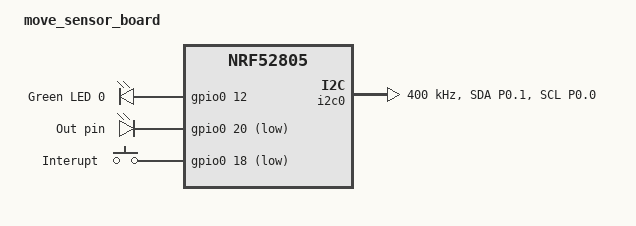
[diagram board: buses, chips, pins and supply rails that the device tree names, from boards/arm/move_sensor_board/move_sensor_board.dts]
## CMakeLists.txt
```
# SPDX-License-Identifier: Apache-2.0

cmake_minimum_required(VERSION 3.20.0)
find_package(Zephyr REQUIRED HINTS $ENV{ZEPHYR_BASE})
project(blinky)

target_sources(app PRIVATE 
                    src/main.c 
                    src/utils.c 
                    src/adc.c
                    src/ir_sensor.c
                    src/settings.c
                    src/sths34pf80_reg.c
                    src/logic.c
                    )
```

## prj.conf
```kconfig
# RTT Logging
CONFIG_LOG=y
CONFIG_LOG_DEFAULT_LEVEL=3
CONFIG_CONSOLE=y
CONFIG_UART_CONSOLE=n
CONFIG_STDOUT_CONSOLE=n

CONFIG_USE_SEGGER_RTT=y
CONFIG_LOG_MODE_IMMEDIATE=y
CONFIG_PRINTK=y

# RC oscilator as a source of lfclk
CONFIG_CLOCK_CONTROL_NRF_K32SRC_RC=y
CONFIG_CLOCK_CONTROL_NRF_K32SRC_XTAL=n

# Hardware
CONFIG_GPIO=y
CONFIG_NRFX_SAADC=y
CONFIG_PINCTRL=y

# IR Sensor
CONFIG_I2C=y
CONFIG_I2C_NRFX=y


# Enable reset pin
CONFIG_GPIO_AS_PINRESET=n

#Bluetooth and nus
CONFIG_BT=y
CONFIG_BT_PERIPHERAL=y
CONFIG_BT_DEVICE_NAME="ImbueLight move controller"
CONFIG_BT_NUS=y

# # Disable Bluetooth features not needed
CONFIG_BT_DEBUG_NONE=y
CONFIG_BT_ASSERT=n
CONFIG_BT_DATA_LEN_UPDATE=n
CONFIG_BT_PHY_UPDATE=n
CONFIG_BT_GATT_CACHING=n
#CONFIG_BT_GATT_SERVICE_CHANGED=n
CONFIG_BT_GAP_PERIPHERAL_PREF_PARAMS=n
#CONFIG_BT_SETTINGS_CCC_LAZY_LOADING=y
CONFIG_BT_HCI_VS_EXT=n

# # Disable Bluetooth controller features not needed
CONFIG_BT_CTLR_PRIVACY=n
CONFIG_BT_CTLR_PHY_2M=n

# # Reduce Bluetooth buffers
# CONFIG_BT_BUF_EVT_DISCARDABLE_COUNT=1
# CONFIG_BT_BUF_EVT_DISCARDABLE_SIZE=43
# CONFIG_BT_BUF_EVT_RX_COUNT=2
# CONFIG_BT_CONN_TX_MAX=2
# CONFIG_BT_L2CAP_TX_BUF_COUNT=2
# CONFIG_BT_CTLR_RX_BUFFERS=1
# CONFIG_BT_BUF_ACL_TX_COUNT=3
# CONFIG_BT_BUF_ACL_TX_SIZE=27

# CONFIG_BT_RX_STACK_SIZE=1024
# CONFIG_BT_HCI_TX_STACK_SIZE_WITH_PROMPT=y
# CONFIG_BT_HCI_TX_STACK_SIZE=640
# CONFIG_SYSTEM_WORKQUEUE_STACK_SIZE=256

#CONFIG_MAIN_STACK_SIZE=640
#CONFIG_IDLE_STACK_SIZE=128
#CONFIG_ISR_STACK_SIZE=1024


#Flash settings
CONFIG_FLASH=y
CONFIG_FLASH_PAGE_LAYOUT=y
CONFIG_NVS=y
#CONFIG_NVS_LOG_LEVEL_DBG=y
CONFIG_REBOOT=y
CONFIG_MPU_ALLOW_FLASH_WRITE=y
```

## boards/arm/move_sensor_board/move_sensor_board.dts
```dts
// Copyright (c) 2023 Nordic Semiconductor ASA
// SPDX-License-Identifier: Apache-2.0

/dts-v1/;
#include <nordic/nrf52805_caaa.dtsi>


/ {
	model = "move_sensor_board";
	compatible = "move-sensor-board";

	chosen {
		zephyr,sram = &sram0;
		zephyr,flash = &flash0;
		zephyr,code-partition = &slot0_partition;
	};

	leds {
		compatible = "gpio-leds";
		led0: led_0 {
			gpios = <&gpio0 12 GPIO_ACTIVE_HIGH>;
			label = "Green LED 0";
		};
		out0: out_0 {
			gpios = <&gpio0 20 GPIO_ACTIVE_LOW>;
			label = "Out pin";
		};
	};

	buttons {
		compatible = "gpio-keys";
		irsensorint: ir_sensor_int {
			gpios = <&gpio0 18 GPIO_ACTIVE_LOW>;
			label = "Interupt ";
		};
	};

	aliases {
		led0 = &led0;
		out0 = &out0;
		i2c0 = &i2c0;
		irsensorint = &irsensorint;
	};
};

&gpio0 {
	status = "okay";
};

&gpiote {
	status = "okay";
};


&pinctrl {
	i2c0_default: i2c0_default {
		group1 {
			psels = <NRF_PSEL(TWIM_SDA, 0, 1)>, <NRF_PSEL(TWIM_SCL, 0, 0)>;
		};
	};

	i2c0_sleep: i2c0_sleep {
		group1 {
			psels = <NRF_PSEL(TWIM_SDA, 0, 1)>, <NRF_PSEL(TWIM_SCL, 0, 0)>;
			low-power-enable;
		};
	};
};

&i2c0 {
	compatible = "nordic,nrf-twi";
	status = "okay";
	pinctrl-0 = <&i2c0_default>;
	pinctrl-1 = <&i2c0_sleep>;
	pinctrl-names = "default", "sleep";
	clock-frequency = <I2C_BITRATE_FAST>;
};



&flash0 {
	partitions {
		compatible = "fixed-partitions";
		#address-cells = <1>;
		#size-cells = <1>;

		boot_partition: partition@0 {
			label = "mcuboot";
			reg = <0x0 0xc000>;
		};
		slot0_partition: partition@c000 {
			label = "image-0";
			reg = <0xc000 0xa000>;
		};
		slot1_partition: partition@16000 {
			label = "image-1";
			reg = <0x16000 0xa000>;
		};
		scratch_partition: partition@20000 {
			label = "image-scratch";
			reg = <0x20000 0xa000>;
		};
		storage_partition: partition@2a000 {
			label = "storage";
			reg = <0x2a000 0x6000>;
		};
	};
};
```

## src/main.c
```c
#include <zephyr/kernel.h>
#include <zephyr/drivers/gpio.h>
#include <zephyr/drivers/i2c.h>
#include <stdio.h>
#include "utils.h"
#include "adc.h"
#include "ir_sensor.h"
#include "settings.h"
#include "logic.h"

#include <zephyr/bluetooth/bluetooth.h>
#include <zephyr/bluetooth/uuid.h>
#include <zephyr/bluetooth/gatt.h>
#include <bluetooth/services/nus.h>

#include <zephyr/logging/log.h>
LOG_MODULE_REGISTER(main, CONFIG_LOG_DEFAULT_LEVEL);


#define DEVICE_NAME             CONFIG_BT_DEVICE_NAME
#define DEVICE_NAME_LEN         (sizeof(DEVICE_NAME) - 1)

static struct bt_data ad[] = 
{
	BT_DATA_BYTES(BT_DATA_FLAGS, (BT_LE_AD_GENERAL | BT_LE_AD_NO_BREDR)),
	BT_DATA(BT_DATA_NAME_COMPLETE, DEVICE_NAME, DEVICE_NAME_LEN),
};

uint8_t nus_buffer[17];

bool connection_state = false;
bool save_setting_flag = false;
bool ble_connected_flag = false;
bool led_state = false;
bool set_new_threshold_flag = false;


int16_t current_light = 0;
int16_t ir_sensor_motion_raw = 0;
int16_t ir_sensor_presence_raw = 0;

// Direct signal from sensro
bool light_state_current = false;
bool present_state_current = false;
bool motion_state_current = false;

// this can be inverted or no 
bool light_state = false;
bool present_state = false;
bool motion_state = false;

// this is final state
bool sensor_state = false;

bool led_signalization_connected_flag = false;
bool led_signalization_disconnect_flag = false;
bool led_signalization_save_flag = false;


#define CMD_SET_CONFIG 	0xEC
#define CMD_GET_CONFIG 	0xBC
#define CMD_SEND_DATA 	0x0D



static void bt_receive_cb(struct bt_conn *conn, const uint8_t *const data, uint16_t len)
{
	char addr[BT_ADDR_LE_STR_LEN] = {0};
	uint8_t cmd = 0x00;
	bt_addr_le_to_str(bt_conn_get_dst(conn), addr, ARRAY_SIZE(addr));
	LOG_INF("Received data from: %s msg: %s len: %d", addr, data, len);

	for (int i = 0 ; i < len ; i ++ )
	{
		LOG_INF("[%2d]=%02X", i, data[i]);
	}	

	cmd = data[0];

	switch(cmd)
	{
		case CMD_SET_CONFIG:
			LOG_INF("CMD_SET_CONFIG");

			settings.light_intensity_enable = data[1] > 0 ? true : false;
			settings.light_intensity_threshold = (uint16_t)(((uint16_t)data[3] << 8 ) | data[2] );
			settings.light_intensity_out_invert = data[4] > 0 ? true : false;

			settings.presence_enable = data[5] > 0 ? true : false;
			settings.presence_threshold = (uint16_t)(((uint16_t)data[7] << 8 ) | data[6] );
			settings.presence_out_invert = data[8] > 0 ? true : false;

			settings.motion_threshold = (uint16_t)(((uint16_t)data[10] << 8 ) | data[9] );
			settings.motion_enable = data[11] > 0 ? true : false;
			settings.motion_out_invert = data[12] > 0 ? true : false;

			settings.signal_out_logic_function = (enum lout_logic_t)data[13];
			settings.signal_out_invert = data[14] > 0 ? true : false;

			settings.led_signalization_src =  (enum led_signalization_src_t)data[15];

			set_new_threshold_flag = true;
			
			led_signalization_save_flag = true;
		break;
		case CMD_GET_CONFIG:
			LOG_INF("CMD_GET_CONFIG");

			nus_buffer[0] = CMD_GET_CONFIG;
			nus_buffer[1] = settings.light_intensity_enable;
			nus_buffer[2] = settings.light_intensity_threshold >> 8;
			nus_buffer[3] = settings.light_intensity_threshold & 0xFF;
			nus_buffer[4] = settings.light_intensity_out_invert;
			nus_buffer[5] = settings.presence_enable;
			nus_buffer[6] = settings.presence_threshold >> 8;
			nus_buffer[7] = settings.presence_threshold & 0xFF;
			nus_buffer[8] = settings.presence_out_invert;
			nus_buffer[9] = settings.motion_threshold >> 8;
			nus_buffer[10] = settings.motion_threshold & 0xFF;
			nus_buffer[11] = settings.motion_enable;
			nus_buffer[12] = settings.motion_out_invert;

			nus_buffer[13] = (uint8_t)settings.signal_out_logic_function;
			nus_buffer[14] = settings.signal_out_invert;
			nus_buffer[15] = (uint8_t)settings.led_signalization_src;
			nus_buffer[16] = FW_VERSION;

			bt_nus_send(NULL, nus_buffer, 17);
		break;
		default:
			LOG_ERR("CMD - Unknown command");
		break;
	}
}


static void connected(struct bt_conn *conn, uint8_t err)
{
	char addr[BT_ADDR_LE_STR_LEN];
	if (err) 
	{
		LOG_ERR("Connection failed (err %u)", err);
		return;
	}
	bt_addr_le_to_str(bt_conn_get_dst(conn), addr, sizeof(addr));
	LOG_INF("Connected %s", addr);
	//current_conn = bt_conn_ref(conn);

	connection_state = true;
	led_signalization_connected_flag = true;
}


static void disconnected(struct bt_conn *conn, uint8_t reason)
{
	char addr[BT_ADDR_LE_STR_LEN];

	bt_addr_le_to_str(bt_conn_get_dst(conn), addr, sizeof(addr));

	LOG_INF("Disconnected: %s (reason %u)", addr, reason);

	connection_state = false;
	led_signalization_disconnect_flag = true;
}


static struct bt_nus_cb nus_cb = {
	.received = bt_receive_cb,
};


BT_CONN_CB_DEFINE(conn_callbacks) = {
	.connected    = connected,
	.disconnected = disconnected,
};



static void bt_ready(int err)
{
	uint8_t addr_s[3];
	bt_addr_le_t addr = {0};
	size_t count = 1;
	char device_name_adv[24];

	bt_id_get(&addr, &count);
	addr_s[0] = addr.a.val[0] ^ addr.a.val[1];
	addr_s[1] = addr.a.val[2] ^ addr.a.val[3];
	addr_s[2] = addr.a.val[4] ^ addr.a.val[5];

	sprintf(device_name_adv, "IL Move %02X%02X%02X", addr_s[0], addr_s[1], addr_s[2]);
	
	LOG_INF("ADV NAME: %s", device_name_adv);

	ad[1].data = (const uint8_t*)device_name_adv;
	ad[1].data_len = strlen((const char*)device_name_adv);

	err = bt_nus_init(&nus_cb);
	if (err) 
	{
		LOG_ERR("Failed to initialize UART service (err: %d)", err);
		return;
	}

	err = bt_le_adv_start(BT_LE_ADV_CONN, ad, ARRAY_SIZE(ad), NULL, 0);
	if (err) 
	{
		LOG_INF("Advertising failed to start (err %d)\n", err);
		return;
	}
}


void BOOT_info(void)
{
    LOG_INF("##############################"); 
    LOG_INF("##       Imbue Light        ##");
	LOG_INF("##     Move Controller      ##");	
	LOG_INF("##        ver 3.0           ##");
    LOG_INF("##   %s %s   ##", __DATE__, __TIME__);
    LOG_INF("##############################\n");
}


#include "sths34pf80_reg.h"
#include "settings.h"
#include "utils.h"
#include "ir_sensor.h"
#include "logic.h"

extern stmdev_ctx_t ir_sensor;
extern volatile sths34pf80_drdy_status_t status;
extern volatile sths34pf80_func_status_t func_status;


int main(void)
{	
	BOOT_info();
	LED_init();
	OUT_init();
	LED_start();
	SETTINGS_init();
	SETTINGS_load();
	//SETTINGS_load_default();
	ADC_init();
	IR_SENSOR_init();

	int err = bt_enable(bt_ready);
	if (err) 
	{
		LOG_INF("Bluetooth init failed (err %d)\n", err);
	}

	while(1)
	{

			ir_sensor_motion_raw = IR_SENSOR_get_montion_raw();
			k_msleep(2);	
			ir_sensor_presence_raw = IR_SENSOR_get_presence_raw();










			/* Odczyt/wyczyszczenie flag statusu w sensorze (side-effect: kasuje IRQ) */
				sths34pf80_func_status_t fs = (sths34pf80_func_status_t){0};
				sths34pf80_drdy_status_t st = (sths34pf80_drdy_status_t){0};

				(void)sths34pf80_func_status_get(&ir_sensor, &fs);
				(void)sths34pf80_drdy_status_get(&ir_sensor, &st);

				/* Zapisz do globalnych (jeśli ktoś czyta gdzie indziej) */
				func_status = fs;
				status = st;

				bool motion_flag   = (fs.mot_flag != 0);
				bool presence_flag = (fs.pres_flag != 0);

				/* (opcjonalnie) diagnostyka pinu:
				int pin_level = gpio_pin_get_dt(&ir_sensor_int);
				LOG_DBG("INT pin=%d, mot=%d pres=%d", pin_level, motion_flag, presence_flag);
				*/

				/* Motion */
				if (settings.motion_enable) {
					bool motion_old = motion_state_current;
					motion_state_current = motion_flag ? 1 : 0;

					if (motion_state_current != motion_old) {
						LOG_INF("Motion state changed - current: %d", motion_state_current);
						LOGIC_signal();
					}
				} else {
					/* zgodnie z poprzednią logiką – motion „wymuszone” */
					motion_state_current = 1;
				}

				/* Presence */
				if (settings.presence_enable) {
					bool present_old = present_state_current;
					present_state_current = presence_flag ? 1 : 0;

					if (present_state_current != present_old) {
						LOG_INF("Presence state changed - current: %d (motion=%d)",
								present_state_current, motion_flag);
						LOGIC_signal();
					}
				} else {
					/* zgodnie z poprzednią logiką – presence „wymuszone” */
					present_state_current = 1;
				}










			// IR_SENSOR_get_all_raw_data(&IR_SENSOR_raw_data);

			// LOG_INF("object: %4d | ambient: %4d | obj_comp: %4d | presence: %4d | motion: %4d | shock: %4d | presence_abs: %4d", 
			// 		IR_SENSOR_raw_data.object_raw, 
			// 		IR_SENSOR_raw_data.object_raw, 
			// 		IR_SENSOR_raw_data.tambient_raw, 
			// 		IR_SENSOR_raw_data.tobj_comp_raw, 
			// 		IR_SENSOR_raw_data.tpresence_raw, 
			// 		IR_SENSOR_raw_data.tmotion_raw, 
			// 		IR_SENSOR_raw_data.tamb_shock_raw, 
			// 		IR_SENSOR_raw_data.presence_abs_value);

			//LOG_INF("LIGHT raw: %4d state: %d MOV raw: %4d state %d", current_light, light_state, ir_sensor_raw, present_state);
		if ( connection_state == true )
		{
			nus_buffer[0] = CMD_SEND_DATA;

			nus_buffer[1] = current_light >> 8;
			nus_buffer[2] = current_light & 0xFF;
			nus_buffer[3] = light_state;
			nus_buffer[4] = ir_sensor_motion_raw >> 8;
			nus_buffer[5] = ir_sensor_motion_raw & 0xFF;
			nus_buffer[6] = ir_sensor_presence_raw >> 8;
			nus_buffer[7] = ir_sensor_presence_raw & 0xFF;
			nus_buffer[8] = present_state;
			nus_buffer[9] = motion_state;
			nus_buffer[10] = sensor_state;


			bt_nus_send(NULL, nus_buffer, 11);
		}

		if ( led_signalization_connected_flag )
		{
 			LED_connected_signalization();
			led_signalization_connected_flag = false;
		}
		if ( led_signalization_disconnect_flag )
		{
 			LED_disconnect_signalization();
			led_signalization_disconnect_flag = false;
		}
		if ( led_signalization_save_flag )
		{
			SETTINGS_save();
 			LED_save_signalization();
			led_signalization_save_flag = false;
		}
		if ( set_new_threshold_flag )
		{
			set_new_threshold_flag = false;
			IR_SENSOR_set_new_motion_threshold(settings.motion_threshold);
			IR_SENSOR_set_new_presence_threshold(settings.presence_threshold);
			LOG_INF("New thresholds set: motion: %d, presence: %d", settings.motion_threshold, settings.presence_threshold);
			//IR_SENSOR_reset();
			// TODO: Led signalization to indicate save settings
			light_state_current = false;
			present_state_current = false;
			light_state = false;
			present_state = false;
			sensor_state = false;
			led_state = false;
			OUT_set(sensor_state); 
			LED_set(led_state);
			LOGIC_signal();
		}


		k_msleep(35);	
	}

	return 0;
}
```

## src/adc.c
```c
#include <zephyr/kernel.h>
#include <nrfx_saadc.h>
#include "settings.h"
#include "utils.h"
#include "adc.h"
#include "logic.h"

#include <zephyr/logging/log.h>
LOG_MODULE_REGISTER(adc, CONFIG_LOG_DEFAULT_LEVEL);


static volatile bool is_ready;
static int16_t samples[2];

static const nrfx_saadc_channel_t channel[2] = {	NRFX_SAADC_DEFAULT_CHANNEL_SE(NRF_SAADC_INPUT_VDD,  0),
									        		NRFX_SAADC_DEFAULT_CHANNEL_SE(NRF_SAADC_INPUT_AIN3, 1) };
static struct k_timer adc_timer;



static void adc_handler(struct k_timer *timer_id)
{
	uint8_t old_light_state = false;
	current_light = ADC_get_light_intensity();

	if ( settings.light_intensity_enable == true ) 
	{
		old_light_state = light_state_current;
		light_state_current = current_light < settings.light_intensity_threshold ? true : false;

		if ( light_state_current != old_light_state )
		{
			LOG_INF("Light state changed - current: %d", light_state_current);
			LOGIC_signal();
		}
	}
	else
	{
		light_state_current = true;
	}
}


void ADC_init(void)
{
	nrfx_err_t err_code;

	LOG_INF("ADC init");
	err_code = nrfx_saadc_init(NRFX_SAADC_DEFAULT_CONFIG_IRQ_PRIORITY);
	err_code = nrfx_saadc_channels_config(channel, 2);
	uint32_t channels_mask = nrfx_saadc_channels_configured_get();
	err_code = nrfx_saadc_simple_mode_set(channels_mask,
										  NRF_SAADC_RESOLUTION_12BIT,
										  NRF_SAADC_OVERSAMPLE_256X,
										  NULL);
	err_code = nrfx_saadc_buffer_set(samples, 2);

	k_timer_init(&adc_timer, adc_handler, NULL);
	k_timer_start(&adc_timer, K_MSEC(100), K_MSEC(100) );
	LOG_INF("ADC init done");
}


int16_t ADC_get_light_intensity(void)
{
    int16_t light;
    nrfx_err_t err_code;

	err_code = nrfx_saadc_mode_trigger();
	light = samples[1];

    return light;
}
```

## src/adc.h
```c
#ifndef __ADC_H
#define __ADC_H

#include <zephyr/kernel.h>

void ADC_init(void);
int16_t ADC_get_light_intensity(void);


#endif
```

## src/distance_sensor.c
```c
#include <zephyr/kernel.h>
#include <zephyr/drivers/gpio.h>
#include <zephyr/drivers/i2c.h>
#include <zephyr/drivers/sensor.h>
#include "distance_sensor.h"

#include <zephyr/logging/log.h>
LOG_MODULE_REGISTER(light, CONFIG_LOG_DEFAULT_LEVEL);

static const struct device *const tof_dev = DEVICE_DT_GET_ONE(st_vl53l0x);
static struct sensor_value prox;

int distance_sensor_init(void)
{	
	if (!device_is_ready(tof_dev)) 
	{
		printk("%s: device not ready.\n", tof_dev->name);
		return 0;
	}
	return 1;
}


uint16_t get_distance(void)
{
	uint16_t distance;
	int err1, err2;

	err1 = sensor_sample_fetch(tof_dev);

	err2 = sensor_channel_get(tof_dev, SENSOR_CHAN_DISTANCE, &prox);
	distance = prox.val1 * 100 + prox.val2/10000;

	//LOG_INF("Err1=%d Err2=%d Dis=%d", err1, err2, distance);

	return distance;
}
```

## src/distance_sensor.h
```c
#ifndef __LIGHT_H
#define __LIGHT_H

#include <zephyr/kernel.h>

int distance_sensor_init(void);
uint16_t get_distance(void);

#endif
```

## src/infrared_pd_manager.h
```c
/**
  ******************************************************************************
  * @file    infrared_pd_manager.h
  * @author  MEMS Software Solutions Team
  * @brief   This file contains definitions for the infrared_pd_manager.c file
  ******************************************************************************
  * @attention
  *
  * Copyright (c) 2023 STMicroelectronics.
  * All rights reserved.
  *
  * This software is licensed under terms that can be found in the LICENSE file
  * in the root directory of this software component.
  * If no LICENSE file comes with this software, it is provided AS-IS.
  *
  ******************************************************************************
  */

/* Define to prevent recursive inclusion -------------------------------------*/
#ifndef INFRARED_PD_MANAGER_H
#define INFRARED_PD_MANAGER_H

#ifdef __cplusplus
extern "C" {
#endif

/* Includes ------------------------------------------------------------------*/
#include "string.h"
#include "infrared_pd.h"

/* Extern variables ----------------------------------------------------------*/
extern uint8_t Odr;
extern uint16_t AvgTmos;
extern uint8_t AvgT;
extern uint8_t GainFactor;
extern uint16_t Sensitivity;

/* Exported Macros -----------------------------------------------------------*/
/* Exported Types ------------------------------------------------------------*/
/* Imported Variables --------------------------------------------------------*/
/* Exported Functions Prototypes ---------------------------------------------*/
void InfraredPD_manager_init(void);
void InfraredPD_manager_run(IPD_input_t *data_in, IPD_output_t *data_out);
void InfraredPD_manager_get_version(char *version, int *length);

#ifdef __cplusplus
}
#endif

#endif /* INFRARED_PD_MANAGER_H */
```

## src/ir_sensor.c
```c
// ir_sensor.c
#include <zephyr/kernel.h>
#include <zephyr/drivers/gpio.h>
#include <zephyr/drivers/i2c.h>
#include <zephyr/logging/log.h>
#include <zephyr/sys/atomic.h>   // atomic_t / atomic ops (anti-flood dla workqueue)
#include <zephyr/sys/util.h>     // ARG_UNUSED
#include <errno.h>               // -EINVAL

#include <string.h>              // memcpy
#include <stdbool.h>

#include "sths34pf80_reg.h"
#include "settings.h"
#include "utils.h"
#include "ir_sensor.h"
#include "logic.h"

LOG_MODULE_REGISTER(ir_sensor, CONFIG_LOG_DEFAULT_LEVEL);

/* -------------------------------------------------------------------------- */
/* Devicetree aliases                                                         */
/* -------------------------------------------------------------------------- */
#define IRSENSOR_INT_NODE  DT_ALIAS(irsensorint)
#define I2C_DEV_NODE       DT_ALIAS(i2c0)

/* I2C adres czujnika */
#ifndef IRSENSOR_I2C_ADDR
#define IRSENSOR_I2C_ADDR  0x5A
#endif


/* -------------------------------------------------------------------------- */
/* DT bindings                                                                */
/* -------------------------------------------------------------------------- */
static const struct gpio_dt_spec ir_sensor_int = GPIO_DT_SPEC_GET_OR(IRSENSOR_INT_NODE, gpios, {0});
static const struct device *const i2c_dev = DEVICE_DT_GET(I2C_DEV_NODE);

/* -------------------------------------------------------------------------- */
/* Stan modułu                                                                */
/* -------------------------------------------------------------------------- */
static struct gpio_callback irsensor_int_cb_data;

/* globalne – jeśli czytane gdzie indziej */
volatile sths34pf80_drdy_status_t status;
volatile sths34pf80_func_status_t func_status;

stmdev_ctx_t ir_sensor;

IR_SENSOR_raw_data_t IR_SENSOR_raw_data;

/* Workqueue do obsługi przerwania (ISR robi tylko submit) */
static struct k_work ir_int_work;
static atomic_t ir_work_pending = ATOMIC_INIT(0);

/* Te zmienne są zdefiniowane w main.c – używane tutaj: */
extern bool present_state_current;
extern bool motion_state_current;
extern bool present_state; /* istnieje w projekcie */
extern bool motion_state;  /* istnieje w projekcie */

/* -------------------------------------------------------------------------- */
/* Prototypy                                                                  */
/* -------------------------------------------------------------------------- */
static int32_t platform_write(void *handle, uint8_t Reg, const uint8_t *Bufp, uint16_t len);
static int32_t platform_read(void *handle, uint8_t Reg, uint8_t *Bufp, uint16_t len);
static void platform_delay(uint32_t ms);

static void ir_int_work_handler(struct k_work *work);

/* -------------------------------------------------------------------------- */
/* ISR – minimalny: tylko zgłoszenie pracy                                    */
/* -------------------------------------------------------------------------- */
static void irsensor_int_cb(const struct device *dev, struct gpio_callback *cb, uint32_t pins)
{
    ARG_UNUSED(dev);
    ARG_UNUSED(cb);
    ARG_UNUSED(pins);

    /* Anti-flood: jedna praca w kolejce naraz */
    if (atomic_cas(&ir_work_pending, 0, 1)) {
        k_work_submit(&ir_int_work);
    }
}

/* -------------------------------------------------------------------------- */
/* Handler pracy – w kontekście wątku systemowego                              */
/* -------------------------------------------------------------------------- */
static void ir_int_work_handler(struct k_work *work)
{
    ARG_UNUSED(work);

    /* Zezwól ISR na zgłoszenie kolejnej pracy */
    atomic_clear(&ir_work_pending);

    /* Odczyt/wyczyszczenie flag statusu w sensorze (side-effect: kasuje IRQ) */
    sths34pf80_func_status_t fs = (sths34pf80_func_status_t){0};
    sths34pf80_drdy_status_t st = (sths34pf80_drdy_status_t){0};

    (void)sths34pf80_func_status_get(&ir_sensor, &fs);
    (void)sths34pf80_drdy_status_get(&ir_sensor, &st);

    /* Zapisz do globalnych (jeśli ktoś czyta gdzie indziej) */
    func_status = fs;
    status = st;

    bool motion_flag   = (fs.mot_flag != 0);
    bool presence_flag = (fs.pres_flag != 0);

    /* (opcjonalnie) diagnostyka pinu:
       int pin_level = gpio_pin_get_dt(&ir_sensor_int);
       LOG_DBG("INT pin=%d, mot=%d pres=%d", pin_level, motion_flag, presence_flag);
    */

    /* Motion */
    if (settings.motion_enable) {
        bool motion_old = motion_state_current;
        motion_state_current = motion_flag ? 1 : 0;

        if (motion_state_current != motion_old) {
            LOG_INF("Motion state changed - current: %d", motion_state_current);
            LOGIC_signal();
        }
    } else {
        /* zgodnie z poprzednią logiką – motion „wymuszone” */
        motion_state_current = 1;
    }

    /* Presence */
    if (settings.presence_enable) {
        bool present_old = present_state_current;
        present_state_current = presence_flag ? 1 : 0;

        if (present_state_current != present_old) {
            LOG_INF("Presence state changed - current: %d (motion=%d)",
                    present_state_current, motion_flag);
            LOGIC_signal();
        }
    } else {
        /* zgodnie z poprzednią logiką – presence „wymuszone” */
        present_state_current = 1;
    }
}

/* -------------------------------------------------------------------------- */
/* Inicjalizacja sensora                                                      */
/* -------------------------------------------------------------------------- */
int IR_SENSOR_init(void)
{
    uint32_t i2c_cfg = I2C_SPEED_SET(I2C_SPEED_STANDARD) | I2C_MODE_CONTROLLER;
    uint8_t whoami = 0;
    sths34pf80_lpf_bandwidth_t lpf_m, lpf_p, lpf_p_m, lpf_a_t;
    int ret;

    if (!device_is_ready(i2c_dev)) {
        LOG_ERR("I2C device is not ready");
        return 0;
    }

    ret = i2c_configure(i2c_dev, i2c_cfg);
    if (ret) {
        LOG_ERR("I2C config failed (%d)", ret);
        return 0;
    }

    ir_sensor.write_reg = platform_write;
    ir_sensor.read_reg  = platform_read;
    ir_sensor.mdelay    = platform_delay;

    /* Work do obsługi przerwania – ZANIM uzbroimy IRQ */
    k_work_init(&ir_int_work, ir_int_work_handler);

    /* GPIO INT */
    if (!gpio_is_ready_dt(&ir_sensor_int)) {
        LOG_ERR("INT device %s not ready", ir_sensor_int.port->name);
        return 0;
    }

    ret = gpio_pin_configure_dt(&ir_sensor_int, GPIO_INPUT);
    if (ret) {
        LOG_ERR("Failed to configure %s pin %d (%d)", ir_sensor_int.port->name, ir_sensor_int.pin, ret);
        return 0;
    }



    LOG_INF("INT on %s pin %d configured", ir_sensor_int.port->name, ir_sensor_int.pin);



    sths34pf80_boot_set(&ir_sensor, 1);
    k_msleep(1000);
    sths34pf80_boot_set(&ir_sensor, 0);
    /* Boot time */
    platform_delay(BOOT_TIME);

    /* WHOAMI */
    (void)sths34pf80_device_id_get(&ir_sensor, &whoami);
    if (whoami != STHS34PF80_ID) {
        LOG_ERR("DEVICE WRONG ID: 0x%02X", whoami);
        /* można tu zwrócić 0; zostawiamy łagodnie */
    } else {
        LOG_INF("DEVICE OK (ID=0x%02X)", whoami);
    }

    /* Averaging */
    (void)sths34pf80_avg_tobject_num_set(&ir_sensor, STHS34PF80_AVG_TMOS_32);
    (void)sths34pf80_avg_tambient_num_set(&ir_sensor, STHS34PF80_AVG_T_8);

    /* Motion LPF */
    (void)sths34pf80_lpf_m_bandwidth_set(&ir_sensor, STHS34PF80_LPF_ODR_DIV_800); // MOTION

    // sths34pf80_lpf_p_bandwidth_set(&ir_sensor, STHS34PF80_LPF_ODR_DIV_800);
    // sths34pf80_lpf_p_m_bandwidth_set(&ir_sensor, STHS34PF80_LPF_ODR_DIV_800);
    // sths34pf80_lpf_a_t_bandwidth_set(&ir_sensor, STHS34PF80_LPF_ODR_DIV_800);

    /* Read filters (diag) */
    (void)sths34pf80_lpf_m_bandwidth_get(&ir_sensor, &lpf_m);
    (void)sths34pf80_lpf_p_bandwidth_get(&ir_sensor, &lpf_p);
    (void)sths34pf80_lpf_p_m_bandwidth_get(&ir_sensor, &lpf_p_m);
    (void)sths34pf80_lpf_a_t_bandwidth_get(&ir_sensor, &lpf_a_t);
    LOG_INF("LPF m:%d p:%d p_m:%d a_t:%d", lpf_m, lpf_p, lpf_p_m, lpf_a_t);

    /* BDU */
    (void)sths34pf80_block_data_update_set(&ir_sensor, 1);

    /* Presence ABS value – wg aktualnej konfiguracji (0/1 w zależności od potrzeb) */
    (void)sths34pf80_presence_abs_value_set(&ir_sensor, 0);

    /* Threshold/hysteresis */
    (void)sths34pf80_presence_threshold_set(&ir_sensor, settings.presence_threshold);
    (void)sths34pf80_presence_hysteresis_set(&ir_sensor, 32); // 8 bit

    (void)sths34pf80_motion_threshold_set(&ir_sensor, settings.motion_threshold);
    (void)sths34pf80_motion_hysteresis_set(&ir_sensor, 100); // 8 bit

    /* INT source: motion + presence, OR routing */


    (void)sths34pf80_int_or_set(&ir_sensor, STHS34PF80_INT_MOTION_PRESENCE);
    (void)sths34pf80_route_int_set(&ir_sensor, STHS34PF80_INT_OR);

    /* ODR */
    (void)sths34pf80_odr_set(&ir_sensor, STHS34PF80_ODR_AT_30Hz);



    //     /* Rejestracja callbacku PRZED uzbrojeniem przerwania */
    // gpio_init_callback(&irsensor_int_cb_data, irsensor_int_cb, BIT(ir_sensor_int.pin));
    // gpio_add_callback(ir_sensor_int.port, &irsensor_int_cb_data);

    // /* Możesz rozważyć EDGE_FALLING jeśli pin jest ACTIVE_LOW w DT */
    // ret = gpio_pin_interrupt_configure_dt(&ir_sensor_int, GPIO_INT_EDGE_BOTH);
    // if (ret) {
    //     LOG_ERR("Failed to setup interrupt on %s pin %d (%d)", ir_sensor_int.port->name, ir_sensor_int.pin, ret);
    //     return 0;
    // }

    return 1;
}

/* -------------------------------------------------------------------------- */
/* API: runtime zmiana threshold                                              */
/* -------------------------------------------------------------------------- */
void IR_SENSOR_set_new_motion_threshold(uint16_t threshold)
{
    (void)sths34pf80_motion_threshold_set(&ir_sensor, threshold);
}

void IR_SENSOR_set_new_presence_threshold(uint16_t threshold)
{
    (void)sths34pf80_presence_threshold_set(&ir_sensor, threshold);
}

/* -------------------------------------------------------------------------- */
/* API: odczyt wszystkich surowych danych                                     */
/* -------------------------------------------------------------------------- */
int IR_SENSOR_get_all_raw_data(IR_SENSOR_raw_data_t* d)
{
    if (!d) return -EINVAL;

    (void)sths34pf80_tobject_raw_get(&ir_sensor, &d->object_raw);
    (void)sths34pf80_tambient_raw_get(&ir_sensor, &d->tambient_raw);
    (void)sths34pf80_tobj_comp_raw_get(&ir_sensor, &d->tobj_comp_raw);
    (void)sths34pf80_tpresence_raw_get(&ir_sensor, &d->tpresence_raw);
    (void)sths34pf80_tmotion_raw_get(&ir_sensor, &d->tmotion_raw);
    (void)sths34pf80_tamb_shock_raw_get(&ir_sensor, &d->tamb_shock_raw);
    (void)sths34pf80_presence_abs_value_get(&ir_sensor, &d->presence_abs_value);

    return 0; // Success
}

/* -------------------------------------------------------------------------- */
/* API: surowe kanały motion / presence                                       */
/* Uwaga: nazwa "montion" zachowana zgodnie z istniejącym wywołaniem w main.c */
/* -------------------------------------------------------------------------- */
int16_t IR_SENSOR_get_montion_raw(void)
{
    int16_t raw = 0;
    (void)sths34pf80_tmotion_raw_get(&ir_sensor, &raw);
    return raw;
}

int16_t IR_SENSOR_get_presence_raw(void)
{
    int16_t raw = 0;
    (void)sths34pf80_tpresence_raw_get(&ir_sensor, &raw);
    return raw;
}

/* -------------------------------------------------------------------------- */
/* API: reset algorytmu                                                       */
/* -------------------------------------------------------------------------- */
void IR_SENSOR_reset(void)
{
    (void)sths34pf80_algo_reset(&ir_sensor);
}

/* -------------------------------------------------------------------------- */
/* Platform I2C                                                               */
/* -------------------------------------------------------------------------- */
static int32_t platform_write(void *handle, uint8_t Reg, const uint8_t *Bufp, uint16_t len)
{
    ARG_UNUSED(handle);

    if (len > 99) {
        return -EINVAL; /* zabezpieczenie buffera [0]=Reg + 99 danych */
    }

    uint8_t buff[100];
    buff[0] = Reg;
    memcpy(&buff[1], Bufp, len);
    return i2c_write(i2c_dev, buff, 1 + len, IRSENSOR_I2C_ADDR);
}

static int32_t platform_read(void *handle, uint8_t Reg, uint8_t *Bufp, uint16_t len)
{
	int a,b;
	uint8_t buff[2];

	buff[0] = Reg;
	a = i2c_write(i2c_dev, buff, 1, 0x5A);
	b = i2c_read(i2c_dev, Bufp, len, 0x5A);
	return a + b;
}


static void platform_delay(uint32_t ms)
{
	k_msleep(ms);
}
```

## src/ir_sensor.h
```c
#ifndef __IR_SENSOR_H
#define __IR_SENSOR_H

#include <zephyr/kernel.h>
#include <zephyr/drivers/i2c.h>


#define    BOOT_TIME         10 //ms

typedef struct {
	int16_t object_raw;
    int16_t tambient_raw;
    int16_t tobj_comp_raw;
    int16_t tpresence_raw;
    int16_t tmotion_raw;
    int16_t tamb_shock_raw;
    uint8_t presence_abs_value;
} IR_SENSOR_raw_data_t;

extern IR_SENSOR_raw_data_t IR_SENSOR_raw_data;


int IR_SENSOR_init(void);
void IR_SENSOR_set_new_motion_threshold(uint16_t threshold);
void IR_SENSOR_set_new_presence_threshold(uint16_t threshold);

int16_t IR_SENSOR_get_montion_raw(void);
int16_t IR_SENSOR_get_presence_raw(void);


void IR_SENSOR_reset(void);
int IR_SENSOR_get_all_raw_data(IR_SENSOR_raw_data_t* IR_SENSOR_raw_data);

#endif
```

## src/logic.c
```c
#include <zephyr/kernel.h>
#include <zephyr/drivers/gpio.h>



#include "logic.h"
#include "settings.h"
#include "utils.h"

extern bool present_state_current;
extern bool motion_state_current;
extern bool present_state; /* nieużywane tutaj, ale istnieje w projekcie */
extern bool motion_state;  /* nieużywane tutaj, ale istnieje w projekcie */



#include <zephyr/logging/log.h>
LOG_MODULE_REGISTER(logic, CONFIG_LOG_DEFAULT_LEVEL);

// This fuction is called every time if sensor state is changed
void LOGIC_signal(void)
{
	static bool new_sensor_state;

	// light_state_current - current light sensor state
	// present_state_current - current presetn sensor state

	// TODO: gdzie odwrócić sygnały sensor state i light state?

	// Light state logic invert
	if ( settings.light_intensity_out_invert == false )
	{
		light_state = light_state_current; 
	}
	else
	{
		light_state = !light_state_current;
	}

	// Light state logic invert
	if ( settings.presence_out_invert == false )
	{
		present_state = present_state_current; 
	}
	else
	{
		present_state = !present_state_current;
	}

	if ( settings.motion_out_invert == false )
	{
		motion_state = motion_state_current; 
	}
	else
	{
		motion_state = !motion_state_current;
	}



	// BOTH SENSOR ENABLED
	if ( ( settings.presence_enable == true ) && ( settings.light_intensity_enable == true ) )
	{
		if ( settings.signal_out_logic_function == OUT_LOGIC_AND )
		{
			new_sensor_state = light_state & present_state;
		}
		else if ( settings.signal_out_logic_function == OUT_LOGIC_OR )
		{
			new_sensor_state = light_state | present_state;
		}
		else
		{
			new_sensor_state = 0;
		}
	}
	// ONLY PRESENSC SENSOR ENABLED
	else if ( ( settings.presence_enable == true ) && ( settings.light_intensity_enable == false ) )
	{
		if ( settings.signal_out_logic_function != OUT_LOGIC_NONE )
		{
			new_sensor_state = present_state;
		}
	}
	// ONLY LIGHT SENSOR ENABLED
	else if ( ( settings.presence_enable == false ) && ( settings.light_intensity_enable == true ) )
	{
		if ( settings.signal_out_logic_function != OUT_LOGIC_NONE )
		{
			new_sensor_state = light_state;
		}
	}

	// Out signal logic
	if ( settings.signal_out_invert == false )
	{
		sensor_state = new_sensor_state;
	}
	else
	{
		sensor_state = !new_sensor_state;
	}
 	OUT_set(sensor_state); 
 

	// LED State controll
	switch(settings.led_signalization_src)
	{
		case LED_SIGNALIZATION_SRC_MOVE_SENSOR:
			led_state = motion_state;
		break;
		case LED_SIGNALIZATION_SRC_LIGHT_SENSOR:
			led_state = light_state;
		break;
		case LED_SIGNALIZATION_SRC_OUT_SIGNAL:
			led_state = sensor_state;
		break;
		default:
			led_state = false;
		break;	
	}
	LED_set(led_state);

}
```

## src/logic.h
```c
#ifndef __LOGIC_H
#define __LOGIC_H

#include <zephyr/kernel.h>
#include <zephyr/drivers/i2c.h>


void LOGIC_signal(void);

#endif
```

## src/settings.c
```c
#include <zephyr/kernel.h>
#include <nrfx_saadc.h>
#include "settings.h"

#include <zephyr/logging/log.h>
LOG_MODULE_REGISTER(settings, CONFIG_LOG_DEFAULT_LEVEL);

struct settings_t settings;

static struct nvs_fs fs;

void SETTINGS_load_default(void)
{
	settings.motion_enable 				= DEFAULT_SETTINGS_MOTION_ENABLE;
	settings.motion_threshold 			= DEFAULT_SETTINGS_MOTION_THRESHOLD;
	settings.motion_out_invert 			= DEFAULT_SETTINGS_MOTION_OUT_INVERT;

    settings.presence_threshold 		= DEFAULT_SETTINGS_PRESENCE_THRESHOLD;
    settings.presence_enable 			= DEFAULT_SETTINGS_PRESENCE_ENABLE;
    settings.presence_out_invert 		= DEFAULT_SETTINGS_PRESENCE_OUT_INVERT;

    settings.light_intensity_threshold 	= DEFAULT_SETTINGS_LIGHT_INTENSITY_THRESHOLD;
    settings.light_intensity_enable 	= DEFAULT_SETTINGS_LIGHT_INTENSITY_ENABLE;
    settings.light_intensity_out_invert = DEFAULT_SETTINGS_LIGHT_INTENSITY_OUT_INVERT;

    settings.signal_out_logic_function 	= DEFAULT_SETTINGS_SIGNAL_OUT_LOGIC_FUNCTION;
    settings.signal_out_invert 			= DEFAULT_SETTINGS_SIGNAL_OUT_INVERT;

    settings.led_signalization_src 		= DEFAULT_SETTINGS_LED_SIGNALIZATION_SRC;
}

void SETTINGS_print_all(void)
{
	// Print all setting from settings struct
	k_msleep(100);
	LOG_WRN("SETTINGS light enable              = %d", settings.light_intensity_enable);
	k_msleep(100);
	LOG_WRN("SETTINGS threshold_light_intensity = %d", settings.light_intensity_threshold);
	k_msleep(100);
	LOG_WRN("SETTINGS light_intensity_out_invert= %d", settings.light_intensity_out_invert);
	k_msleep(100);
	LOG_WRN("SETTINGS presence enable           = %d", settings.presence_enable);
	k_msleep(100);
	LOG_WRN("SETTINGS threshold_prescence       = %d", settings.presence_threshold);
	k_msleep(100);
	LOG_WRN("SETTINGS presence_out_invert       = %d", settings.presence_out_invert);
	k_msleep(100);
	LOG_WRN("SETTINGS signal_out_logic_function = %d", settings.signal_out_logic_function);
	k_msleep(100);
	LOG_WRN("SETTINGS signal_out_invert         = %d", settings.signal_out_invert);
	k_msleep(100);
	LOG_WRN("SETTINGS led_signalization_src     = %d", settings.led_signalization_src);
	k_msleep(100);
	LOG_WRN("SETTINGS motion enable             = %d", settings.motion_enable);
	k_msleep(100);
	LOG_WRN("SETTINGS threshold_motion          = %d", settings.motion_threshold);
	k_msleep(100);
	LOG_WRN("SETTINGS motion_out_invert         = %d", settings.motion_out_invert);
	k_msleep(100);
}

void SETTINGS_init(void)
{
	int rc = 0;
	struct flash_pages_info info;

	/* define the nvs file system by settings with:
	 *	sector_size equal to the pagesize,
	 *	3 sectors
	 *	starting at NVS_PARTITION_OFFSET
	 */
	fs.flash_device = NVS_PARTITION_DEVICE;
	if (!device_is_ready(fs.flash_device)) {
		printk("Flash device %s is not ready\n", fs.flash_device->name);
		return;
	}
	fs.offset = NVS_PARTITION_OFFSET;
	rc = flash_get_page_info_by_offs(fs.flash_device, fs.offset, &info);
	if (rc) {
		printk("Unable to get page info\n");
		return;
	}
	fs.sector_size = info.size;
	fs.sector_count = 4U;

	rc = nvs_mount(&fs);
	if (rc) {
		printk("Flash Init failed\n");
		return;
	}
}


void SETTINGS_load(void)
{
	int rc = 0;

	LOG_INF("LOAD SETTINGS !");
	rc = nvs_read(&fs, SETTINGS_ID, &settings, sizeof(settings));
	if (rc > 0) 
	{ /* item was found, show it */
		LOG_INF("Id: %d Recived: %d bytes", SETTINGS_ID, rc);
	} 
	else   
	{/* item was not found, add it */
		SETTINGS_load_default();
		LOG_WRN("No settings found, set default");
		(void)nvs_write(&fs, SETTINGS_ID, &settings, sizeof(settings));
	}

	SETTINGS_print_all();
}


void SETTINGS_save(void)
{
	LOG_INF("SAVE SETTINGS !");

	int rc = nvs_write(&fs, SETTINGS_ID, &settings, sizeof(settings));
	if (rc < 0) 
	{
		LOG_ERR("Problem writing settings to flash");
	}

	SETTINGS_print_all();
}
```

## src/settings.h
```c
#ifndef __SETTINGS_H
#define __SETTINGS_H

#include <zephyr/kernel.h>

#include <zephyr/drivers/flash.h>
#include <zephyr/storage/flash_map.h>
#include <zephyr/fs/nvs.h>


#define FW_VERSION 15 // means 1.5

#define DEFAULT_SETTINGS_MOTION_ENABLE 					true
#define DEFAULT_SETTINGS_MOTION_THRESHOLD 				200
#define DEFAULT_SETTINGS_MOTION_OUT_INVERT 				false

#define DEFAULT_SETTINGS_LIGHT_INTENSITY_THRESHOLD 		300
#define DEFAULT_SETTINGS_LIGHT_INTENSITY_ENABLE 		true
#define DEFAULT_SETTINGS_LIGHT_INTENSITY_OUT_INVERT 	false

#define DEFAULT_SETTINGS_PRESENCE_THRESHOLD 			250
#define DEFAULT_SETTINGS_PRESENCE_ENABLE 				true
#define DEFAULT_SETTINGS_PRESENCE_OUT_INVERT 			false

#define DEFAULT_SETTINGS_SIGNAL_OUT_LOGIC_FUNCTION 		OUT_LOGIC_AND
#define DEFAULT_SETTINGS_SIGNAL_OUT_INVERT 				false

#define DEFAULT_SETTINGS_LED_SIGNALIZATION_SRC 			LED_SIGNALIZATION_SRC_OUT_SIGNAL



#define NVS_PARTITION		storage_partition
#define NVS_PARTITION_DEVICE	FIXED_PARTITION_DEVICE(NVS_PARTITION)
#define NVS_PARTITION_OFFSET	FIXED_PARTITION_OFFSET(NVS_PARTITION)


#define SETTINGS_ID 			1


extern bool light_state_current;
extern bool present_state_current;
extern bool motion_state_current;
extern bool light_state;
extern bool present_state;
extern bool sensor_state;

extern bool led_state;

extern int16_t current_light;


extern struct settings_t settings;

enum led_signalization_src_t {
    LED_SIGNALIZATION_SRC_NONE 			= 0,
    LED_SIGNALIZATION_SRC_MOVE_SENSOR 	= 1,
    LED_SIGNALIZATION_SRC_LIGHT_SENSOR 	= 2,
    LED_SIGNALIZATION_SRC_OUT_SIGNAL 	= 3
};

enum lout_logic_t {
    OUT_LOGIC_NONE	= 0,
	OUT_LOGIC_AND 	= 1,
	OUT_LOGIC_OR 	= 2,
};

struct settings_t{	
	bool 				motion_enable;
	uint16_t 			motion_threshold;
	bool 				motion_out_invert;
	
	bool 				presence_enable;
	uint16_t 			presence_threshold;
	bool 				presence_out_invert;

	bool 				light_intensity_enable;
	int16_t 			light_intensity_threshold;
	bool 				light_intensity_out_invert;

	enum lout_logic_t 	signal_out_logic_function;
	uint8_t 			signal_out_invert;

	enum led_signalization_src_t led_signalization_src;
};

void SETTINGS_init(void);
void SETTINGS_save(void);
void SETTINGS_load(void);
void SETTINGS_load_default(void);

#endif
```

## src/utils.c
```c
#include <zephyr/kernel.h>
#include <zephyr/drivers/gpio.h>
#include "utils.h"
#include "settings.h"

#include <zephyr/logging/log.h>
LOG_MODULE_REGISTER(utils, CONFIG_LOG_DEFAULT_LEVEL);


#define LED0_NODE DT_ALIAS(led0)
static const struct gpio_dt_spec led = GPIO_DT_SPEC_GET(LED0_NODE, gpios);

#define OUT_NODE DT_ALIAS(out0)
static const struct gpio_dt_spec out = GPIO_DT_SPEC_GET(OUT_NODE, gpios);


void LED_init(void)
{
	int ret;

	if (!gpio_is_ready_dt(&led)) 
	{
		return;
	}

	ret = gpio_pin_configure_dt(&led, GPIO_OUTPUT_ACTIVE);
}

void LED_start(void)
{
    for(int i = 0 ; i < 20 ; i ++ )
    {
        gpio_pin_toggle_dt(&led);
		k_msleep(25);
    }

	gpio_pin_set_dt(&led, 0);
}


void LED_set(int state)
{
    gpio_pin_set_dt(&led, state);
}


void OUT_init(void)
{
	int ret;

	if (!gpio_is_ready_dt(&out)) 
	{
		return;
	}

	ret = gpio_pin_configure_dt(&out, GPIO_OUTPUT_ACTIVE);
	if (ret < 0) 
	{
		return;
	}
	gpio_pin_set_dt(&out, 0);
}


void OUT_set(int state)
{
    gpio_pin_set_dt(&out, state);
}


void LED_connected_signalization(void)
{
	for (int i = 0 ; i < 5 ; i ++ )
	{
		LED_set(true);
		k_msleep(50);
		LED_set(false);
		k_msleep(50);
	}
	LED_set(led_state);
}


void LED_disconnect_signalization(void)
{
	for (int i = 0 ; i < 3 ; i ++ )
	{
		LED_set(true);
		k_msleep(50);
		LED_set(false);
		k_msleep(50);
	}
	LED_set(led_state);
}

		
void LED_save_signalization(void)
{
	for (int i = 0 ; i < 5 ; i ++ )
	{
		LED_set(true);
		k_msleep(50);
		LED_set(false);
		k_msleep(50);
	}
	LED_set(led_state);
}

		
```
